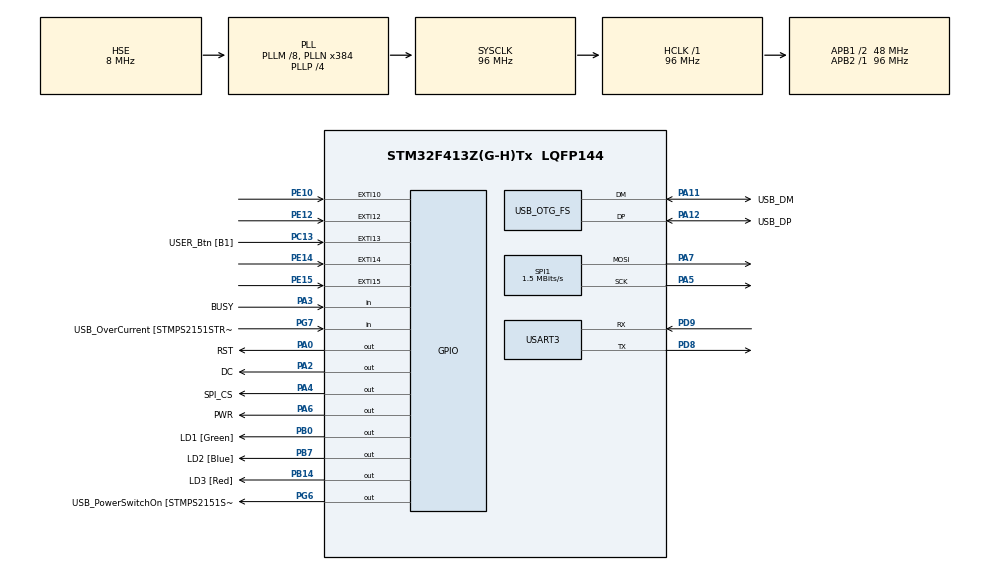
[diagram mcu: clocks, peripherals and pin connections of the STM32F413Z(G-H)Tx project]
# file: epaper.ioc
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Dma.Request0=USART3_RX
Dma.USART3_RX.0.Direction=DMA_PERIPH_TO_MEMORY
Dma.USART3_RX.0.FIFOMode=DMA_FIFOMODE_DISABLE
Dma.USART3_RX.0.Instance=DMA1_Stream1
Dma.USART3_RX.0.MemDataAlignment=DMA_MDATAALIGN_BYTE
Dma.USART3_RX.0.MemInc=DMA_MINC_ENABLE
Dma.USART3_RX.0.Mode=DMA_CIRCULAR
Dma.USART3_RX.0.PeriphDataAlignment=DMA_PDATAALIGN_BYTE
Dma.USART3_RX.0.PeriphInc=DMA_PINC_DISABLE
Dma.USART3_RX.0.Priority=DMA_PRIORITY_LOW
Mcu.Family=STM32F4
Mcu.Name=STM32F413Z(G-H)Tx
Mcu.Package=LQFP144
NVIC.DMA1_Stream1_IRQn=true\:1\:0\:true\:false\:true\:false\:true
NVIC.EXTI15_10_IRQn=true\:1\:0\:true\:false\:true\:true\:true
NVIC.OTG_FS_IRQn=true\:0\:0\:false\:false\:true\:false\:true
NVIC.PriorityGroup=NVIC_PRIORITYGROUP_4
NVIC.RTC_Alarm_IRQn=true\:1\:0\:true\:false\:true\:true\:true
NVIC.USART3_IRQn=true\:1\:0\:true\:false\:true\:true\:true
PA0.GPIO_Label=RST
PA0.Signal=GPIO_Output
PA10.GPIO_Label=USB_ID
PA10.Signal=USB_OTG_FS_ID
PA11.GPIO_Label=USB_DM
PA11.Mode=Device_Only
PA11.Signal=USB_OTG_FS_DM
PA12.GPIO_Label=USB_DP
PA12.Mode=Device_Only
PA12.Signal=USB_OTG_FS_DP
PA13.GPIO_Label=TMS
PA13.Mode=Serial_Wire
PA13.Signal=SYS_JTMS-SWDIO
PA14.GPIO_Label=TCK
PA14.Mode=Serial_Wire
PA14.Signal=SYS_JTCK-SWCLK
PA2.GPIO_Label=DC
PA2.Signal=GPIO_Output
PA3.GPIO_Label=BUSY
PA3.Signal=GPIO_Input
PA4.GPIO_Label=SPI_CS
PA4.Signal=GPIO_Output
PA5.Mode=TX_Only_Simplex_Unidirect_Master
PA5.Signal=SPI1_SCK
PA6.GPIO_Label=PWR
PA6.Signal=GPIO_Output
PA7.Mode=TX_Only_Simplex_Unidirect_Master
PA7.Signal=SPI1_MOSI
PA8.GPIO_Label=USB_SOF [TP1]
PA8.Signal=USB_OTG_FS_SOF
PA9.GPIO_Label=USB_VBUS
PA9.Signal=USB_OTG_FS_VBUS
PB0.GPIO_Label=LD1 [Green]
PB0.Signal=GPIO_Output
PB14.GPIO_Label=LD3 [Red]
PB14.Signal=GPIO_Output
PB3.GPIO_Label=SWO
PB3.Signal=SYS_JTDO-SWO
PB7.GPIO_Label=LD2 [Blue]
PB7.Signal=GPIO_Output
PC13.GPIO_Label=USER_Btn [B1]
PC13.Signal=GPXTI13
PC14-OSC32_IN.Mode=LSE-External-Oscillator
PC14-OSC32_IN.Signal=RCC_OSC32_IN
PC15-OSC32_OUT.Mode=LSE-External-Oscillator
PC15-OSC32_OUT.Signal=RCC_OSC32_OUT
PD8.Mode=Asynchronous
PD8.Signal=USART3_TX
PD9.Mode=Asynchronous
PD9.Signal=USART3_RX
PE10.GPIO_ModeDefaultEXTI=GPIO_MODE_IT_RISING
PE10.GPIO_PuPd=GPIO_PULLUP
PE10.Signal=GPXTI10
PE12.GPIO_ModeDefaultEXTI=GPIO_MODE_IT_RISING
PE12.GPIO_PuPd=GPIO_PULLUP
PE12.Signal=GPXTI12
PE14.GPIO_ModeDefaultEXTI=GPIO_MODE_IT_RISING
PE14.GPIO_PuPd=GPIO_PULLUP
PE14.Signal=GPXTI14
PE15.GPIO_ModeDefaultEXTI=GPIO_MODE_IT_RISING
PE15.GPIO_PuPd=GPIO_PULLUP
PE15.Signal=GPXTI15
PG6.GPIO_Label=USB_PowerSwitchOn [STMPS2151STR_EN]
PG6.Signal=GPIO_Output
PG7.GPIO_Label=USB_OverCurrent [STMPS2151STR_FAULT]
PG7.Signal=GPIO_Input
PH0\ -\ OSC_IN.GPIO_Label=MCO
PH0\ -\ OSC_IN.Mode=HSE-External-Clock-Source
PH0\ -\ OSC_IN.Signal=RCC_OSC_IN
PH1\ -\ OSC_OUT.Mode=HSE-External-Clock-Source
PH1\ -\ OSC_OUT.Signal=RCC_OSC_OUT
ProjectManager.HeapSize=0x9000
ProjectManager.StackSize=0x1000
ProjectManager.TargetToolchain=TrueSTUDIO
RCC.48MHZClocksFreq_Value=24000000
RCC.AHBFreq_Value=96000000
RCC.APB1CLKDivider=RCC_HCLK_DIV2
RCC.APB1Freq_Value=48000000
RCC.APB1TimFreq_Value=96000000
RCC.APB2Freq_Value=96000000
RCC.APB2TimFreq_Value=96000000
RCC.CortexFreq_Value=96000000
RCC.HCLKFreq_Value=96000000
RCC.HSE_VALUE=8000000
RCC.HSI_VALUE=16000000
RCC.PLLM=8
RCC.PLLMUL=RCC_PLL_MUL9
RCC.PLLN=384
RCC.PLLP=RCC_PLLP_DIV4
RCC.PLLQ=8
RCC.PRESCALERUSB=RCC_USBCLKSOURCE_PLL_DIV1_5
RCC.SYSCLKFreq_VALUE=96000000
RCC.SYSCLKSource=RCC_SYSCLKSOURCE_PLLCLK
RCC.SYSCLKSourceVirtual=RCC_SYSCLKSOURCE_PLLCLK
RCC.USBFreq_Value=48000000
RCC.VCOOutputFreq_Value=384000000
RTC.Alarm=RTC_ALARM_A
RTC.AlarmMaskMinutes=RTC_ALARMMASK_MINUTES
SPI1.BaudRatePrescaler=SPI_BAUDRATEPRESCALER_64
SPI1.CalculateBaudRate=1.5 MBits/s
SPI1.Direction=SPI_DIRECTION_2LINES
SPI1.Mode=SPI_MODE_MASTER
SPI1.VirtualType=VM_MASTER
USART3.VirtualMode=VM_ASYNC
USB_DEVICE.CLASS_NAME_FS=CDC
USB_DEVICE.VirtualMode=Cdc
USB_DEVICE.VirtualModeFS=Cdc_FS
USB_OTG_FS.VirtualMode=Device_Only
VP_RTC_VS_RTC_Activate.Mode=RTC_Enabled
VP_RTC_VS_RTC_Alarm_A_Intern.Mode=Alarm A
VP_RTC_VS_RTC_Calendar.Mode=RTC_Calendar
VP_USB_DEVICE_VS_USB_DEVICE_CDC_FS.Mode=CDC_FS
board=NUCLEO-F413ZH

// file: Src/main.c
/* USER CODE BEGIN Header */
/**
  ******************************************************************************
  * @file           : main.c
  * @brief          : Main program body
  ******************************************************************************
  * @attention
  *
  * <h2><center>&copy; Copyright (c) 2020 STMicroelectronics.
  * All rights reserved.</center></h2>
  *
  * This software component is licensed by ST under BSD 3-Clause license,
  * the "License"; You may not use this file except in compliance with the
  * License. You may obtain a copy of the License at:
  *                        opensource.org/licenses/BSD-3-Clause
  *
  ******************************************************************************
  */
/* USER CODE END Header */

#include "main.h"
#include "usb_device.h"

/* USER CODE BEGIN Includes */
#include "EPD_2in7.h"
#include "stdlib.h"
#include "usbd_cdc_if.h"
/* USER CODE END Includes */

/* USER CODE BEGIN PD */
#define MODE_BW 0
#define MODE_4Gray 1
/* USER CODE END PD */

RTC_HandleTypeDef hrtc;

SPI_HandleTypeDef hspi1;

UART_HandleTypeDef huart3;
DMA_HandleTypeDef hdma_usart3_rx;

/* USER CODE BEGIN PV */
/* Private variables ---------------------------------------------------------*/

/* USER CODE END PV */

void SystemClock_Config(void);
static void MX_GPIO_Init(void);
static void MX_DMA_Init(void);
static void MX_USART3_UART_Init(void);
static void MX_SPI1_Init(void);
static void MX_RTC_Init(void);
/* USER CODE BEGIN PFP */
/* Private function prototypes -----------------------------------------------*/
void DEV_DisplayImage(void);
void DEV_InitMode(int mode);
/* USER CODE END PFP */

/* USER CODE BEGIN 0 */
const UWORD Imagesize = 5808; //264*176/8
UBYTE *BlackImage;

int displaymode = 0; // 0 for black and white, 1 for 4-gray
/* USER CODE END 0 */

int main(void)
{

  /* MCU Configuration--------------------------------------------------------*/

  /* Reset of all peripherals, Initializes the Flash interface and the Systick. */
  HAL_Init();

  /* Configure the system clock */
  SystemClock_Config();

  /* Initialize all configured peripherals */
  MX_GPIO_Init();
  MX_DMA_Init();
  MX_USART3_UART_Init();
  MX_SPI1_Init();
  MX_RTC_Init();
  MX_USB_DEVICE_Init();
  /* USER CODE BEGIN 2 */
  HAL_GPIO_WritePin(PWR_GPIO_Port, PWR_Pin, GPIO_PIN_SET);

  DEV_Module_Init();
  DEV_InitMode(MODE_BW);
  /* USER CODE END 2 */

  /* Infinite loop */
  /* USER CODE BEGIN WHILE */
	while (1) {
		// send the cpu to sleep
    	HAL_SuspendTick();
    	__WFI();
    /* USER CODE END WHILE */

    }
}

void SystemClock_Config(void)
{
  RCC_OscInitTypeDef RCC_OscInitStruct = {0};
  RCC_ClkInitTypeDef RCC_ClkInitStruct = {0};
  RCC_PeriphCLKInitTypeDef PeriphClkInitStruct = {0};

  /** Configure the main internal regulator output voltage
  */
  __HAL_RCC_PWR_CLK_ENABLE();
  __HAL_PWR_VOLTAGESCALING_CONFIG(PWR_REGULATOR_VOLTAGE_SCALE1);
  /** Initializes the CPU, AHB and APB busses clocks
  */
  RCC_OscInitStruct.OscillatorType = RCC_OSCILLATORTYPE_LSI|RCC_OSCILLATORTYPE_HSE;
  RCC_OscInitStruct.HSEState = RCC_HSE_BYPASS;
  RCC_OscInitStruct.LSIState = RCC_LSI_ON;
  RCC_OscInitStruct.PLL.PLLState = RCC_PLL_ON;
  RCC_OscInitStruct.PLL.PLLSource = RCC_PLLSOURCE_HSE;
  RCC_OscInitStruct.PLL.PLLM = 8;
  RCC_OscInitStruct.PLL.PLLN = 384;
  RCC_OscInitStruct.PLL.PLLP = RCC_PLLP_DIV4;
  RCC_OscInitStruct.PLL.PLLQ = 8;
  RCC_OscInitStruct.PLL.PLLR = 2;
  if (HAL_RCC_OscConfig(&RCC_OscInitStruct) != HAL_OK)
  {
    Error_Handler();
  }
  /** Initializes the CPU, AHB and APB busses clocks
  */
  RCC_ClkInitStruct.ClockType = RCC_CLOCKTYPE_HCLK|RCC_CLOCKTYPE_SYSCLK
                              |RCC_CLOCKTYPE_PCLK1|RCC_CLOCKTYPE_PCLK2;
  RCC_ClkInitStruct.SYSCLKSource = RCC_SYSCLKSOURCE_PLLCLK;
  RCC_ClkInitStruct.AHBCLKDivider = RCC_SYSCLK_DIV1;
  RCC_ClkInitStruct.APB1CLKDivider = RCC_HCLK_DIV2;
  RCC_ClkInitStruct.APB2CLKDivider = RCC_HCLK_DIV1;

  if (HAL_RCC_ClockConfig(&RCC_ClkInitStruct, FLASH_LATENCY_3) != HAL_OK)
  {
    Error_Handler();
  }
  PeriphClkInitStruct.PeriphClockSelection = RCC_PERIPHCLK_RTC|RCC_PERIPHCLK_CLK48;
  PeriphClkInitStruct.RTCClockSelection = RCC_RTCCLKSOURCE_LSI;
  PeriphClkInitStruct.Clk48ClockSelection = RCC_CLK48CLKSOURCE_PLLQ;
  if (HAL_RCCEx_PeriphCLKConfig(&PeriphClkInitStruct) != HAL_OK)
  {
    Error_Handler();
  }
}

static void MX_RTC_Init(void)
{

  RTC_TimeTypeDef sTime = {0};
  RTC_DateTypeDef sDate = {0};
  RTC_AlarmTypeDef sAlarm = {0};

  /** Initialize RTC Only
  */
  hrtc.Instance = RTC;
  hrtc.Init.HourFormat = RTC_HOURFORMAT_24;
  hrtc.Init.AsynchPrediv = 127;
  hrtc.Init.SynchPrediv = 255;
  hrtc.Init.OutPut = RTC_OUTPUT_DISABLE;
  hrtc.Init.OutPutPolarity = RTC_OUTPUT_POLARITY_HIGH;
  hrtc.Init.OutPutType = RTC_OUTPUT_TYPE_OPENDRAIN;
  if (HAL_RTC_Init(&hrtc) != HAL_OK)
  {
    Error_Handler();
  }

  /** Initialize RTC and set the Time and Date
  */
  sTime.Hours = 0x0;
  sTime.Minutes = 0x0;
  sTime.Seconds = 0x0;
  sTime.DayLightSaving = RTC_DAYLIGHTSAVING_NONE;
  sTime.StoreOperation = RTC_STOREOPERATION_RESET;
  if (HAL_RTC_SetTime(&hrtc, &sTime, RTC_FORMAT_BCD) != HAL_OK)
  {
    Error_Handler();
  }
  sDate.WeekDay = RTC_WEEKDAY_MONDAY;
  sDate.Month = RTC_MONTH_JANUARY;
  sDate.Date = 0x1;
  sDate.Year = 0x0;

  if (HAL_RTC_SetDate(&hrtc, &sDate, RTC_FORMAT_BCD) != HAL_OK)
  {
    Error_Handler();
  }
  /** Enable the Alarm A
  */
  sAlarm.AlarmTime.Hours = 0x0;
  sAlarm.AlarmTime.Minutes = 0x0;
  sAlarm.AlarmTime.Seconds = 0x0;
  sAlarm.AlarmTime.SubSeconds = 0x0;
  sAlarm.AlarmTime.DayLightSaving = RTC_DAYLIGHTSAVING_NONE;
  sAlarm.AlarmTime.StoreOperation = RTC_STOREOPERATION_RESET;
  sAlarm.AlarmMask = RTC_ALARMMASK_MINUTES;
  sAlarm.AlarmSubSecondMask = RTC_ALARMSUBSECONDMASK_ALL;
  sAlarm.AlarmDateWeekDaySel = RTC_ALARMDATEWEEKDAYSEL_DATE;
  sAlarm.AlarmDateWeekDay = 0x1;
  sAlarm.Alarm = RTC_ALARM_A;
  if (HAL_RTC_SetAlarm_IT(&hrtc, &sAlarm, RTC_FORMAT_BCD) != HAL_OK)
  {
    Error_Handler();
  }

}

static void MX_SPI1_Init(void)
{

  /* SPI1 parameter configuration*/
  hspi1.Instance = SPI1;
  hspi1.Init.Mode = SPI_MODE_MASTER;
  hspi1.Init.Direction = SPI_DIRECTION_2LINES;
  hspi1.Init.DataSize = SPI_DATASIZE_8BIT;
  hspi1.Init.CLKPolarity = SPI_POLARITY_LOW;
  hspi1.Init.CLKPhase = SPI_PHASE_1EDGE;
  hspi1.Init.NSS = SPI_NSS_SOFT;
  hspi1.Init.BaudRatePrescaler = SPI_BAUDRATEPRESCALER_64;
  hspi1.Init.FirstBit = SPI_FIRSTBIT_MSB;
  hspi1.Init.TIMode = SPI_TIMODE_DISABLE;
  hspi1.Init.CRCCalculation = SPI_CRCCALCULATION_DISABLE;
  hspi1.Init.CRCPolynomial = 10;
  if (HAL_SPI_Init(&hspi1) != HAL_OK)
  {
    Error_Handler();
  }

}

static void MX_USART3_UART_Init(void)
{

  huart3.Instance = USART3;
  huart3.Init.BaudRate = 115200;
  huart3.Init.WordLength = UART_WORDLENGTH_8B;
  huart3.Init.StopBits = UART_STOPBITS_1;
  huart3.Init.Parity = UART_PARITY_NONE;
  huart3.Init.Mode = UART_MODE_TX_RX;
  huart3.Init.HwFlowCtl = UART_HWCONTROL_NONE;
  huart3.Init.OverSampling = UART_OVERSAMPLING_16;
  if (HAL_UART_Init(&huart3) != HAL_OK)
  {
    Error_Handler();
  }

}

static void MX_DMA_Init(void)
{

  /* DMA controller clock enable */
  __HAL_RCC_DMA1_CLK_ENABLE();

  /* DMA interrupt init */
  /* DMA1_Stream1_IRQn interrupt configuration */
  HAL_NVIC_SetPriority(DMA1_Stream1_IRQn, 1, 0);
  HAL_NVIC_EnableIRQ(DMA1_Stream1_IRQn);

}

static void MX_GPIO_Init(void)
{
  GPIO_InitTypeDef GPIO_InitStruct = {0};

  /* GPIO Ports Clock Enable */
  __HAL_RCC_GPIOC_CLK_ENABLE();
  __HAL_RCC_GPIOH_CLK_ENABLE();
  __HAL_RCC_GPIOA_CLK_ENABLE();
  __HAL_RCC_GPIOB_CLK_ENABLE();
  __HAL_RCC_GPIOE_CLK_ENABLE();
  __HAL_RCC_GPIOD_CLK_ENABLE();
  __HAL_RCC_GPIOG_CLK_ENABLE();

  /*Configure GPIO pin Output Level */
  HAL_GPIO_WritePin(GPIOA, RST_Pin|DC_Pin|SPI_CS_Pin|PWR_Pin, GPIO_PIN_RESET);

  /*Configure GPIO pin Output Level */
  HAL_GPIO_WritePin(GPIOB, LD1_Pin|LD3_Pin|LD2_Pin, GPIO_PIN_RESET);

  /*Configure GPIO pin Output Level */
  HAL_GPIO_WritePin(USB_PowerSwitchOn_GPIO_Port, USB_PowerSwitchOn_Pin, GPIO_PIN_RESET);

  /*Configure GPIO pin : USER_Btn_Pin */
  GPIO_InitStruct.Pin = USER_Btn_Pin;
  GPIO_InitStruct.Mode = GPIO_MODE_IT_RISING;
  GPIO_InitStruct.Pull = GPIO_NOPULL;
  HAL_GPIO_Init(USER_Btn_GPIO_Port, &GPIO_InitStruct);

  /*Configure GPIO pins : RST_Pin DC_Pin SPI_CS_Pin PWR_Pin */
  GPIO_InitStruct.Pin = RST_Pin|DC_Pin|SPI_CS_Pin|PWR_Pin;
  GPIO_InitStruct.Mode = GPIO_MODE_OUTPUT_PP;
  GPIO_InitStruct.Pull = GPIO_NOPULL;
  GPIO_InitStruct.Speed = GPIO_SPEED_FREQ_LOW;
  HAL_GPIO_Init(GPIOA, &GPIO_InitStruct);

  /*Configure GPIO pin : BUSY_Pin */
  GPIO_InitStruct.Pin = BUSY_Pin;
  GPIO_InitStruct.Mode = GPIO_MODE_INPUT;
  GPIO_InitStruct.Pull = GPIO_NOPULL;
  HAL_GPIO_Init(BUSY_GPIO_Port, &GPIO_InitStruct);

  /*Configure GPIO pins : LD1_Pin LD3_Pin LD2_Pin */
  GPIO_InitStruct.Pin = LD1_Pin|LD3_Pin|LD2_Pin;
  GPIO_InitStruct.Mode = GPIO_MODE_OUTPUT_PP;
  GPIO_InitStruct.Pull = GPIO_NOPULL;
  GPIO_InitStruct.Speed = GPIO_SPEED_FREQ_LOW;
  HAL_GPIO_Init(GPIOB, &GPIO_InitStruct);

  /*Configure GPIO pins : PE10 PE12 PE14 PE15 */
  GPIO_InitStruct.Pin = GPIO_PIN_10|GPIO_PIN_12|GPIO_PIN_14|GPIO_PIN_15;
  GPIO_InitStruct.Mode = GPIO_MODE_IT_RISING;
  GPIO_InitStruct.Pull = GPIO_PULLUP;
  HAL_GPIO_Init(GPIOE, &GPIO_InitStruct);

  /*Configure GPIO pin : USB_PowerSwitchOn_Pin */
  GPIO_InitStruct.Pin = USB_PowerSwitchOn_Pin;
  GPIO_InitStruct.Mode = GPIO_MODE_OUTPUT_PP;
  GPIO_InitStruct.Pull = GPIO_NOPULL;
  GPIO_InitStruct.Speed = GPIO_SPEED_FREQ_LOW;
  HAL_GPIO_Init(USB_PowerSwitchOn_GPIO_Port, &GPIO_InitStruct);

  /*Configure GPIO pin : USB_OverCurrent_Pin */
  GPIO_InitStruct.Pin = USB_OverCurrent_Pin;
  GPIO_InitStruct.Mode = GPIO_MODE_INPUT;
  GPIO_InitStruct.Pull = GPIO_NOPULL;
  HAL_GPIO_Init(USB_OverCurrent_GPIO_Port, &GPIO_InitStruct);

  /* EXTI interrupt init*/
  HAL_NVIC_SetPriority(EXTI15_10_IRQn, 1, 0);
  HAL_NVIC_EnableIRQ(EXTI15_10_IRQn);

}

/* USER CODE BEGIN 4 */

void DEV_InitMode(int mode) {
	free(BlackImage);
	BlackImage = (UBYTE *)malloc((Imagesize*(mode+1)));
	displaymode = mode;

	if(mode == MODE_BW) {
		EPD_2IN7_Init();
	} else {
		EPD_2IN7_Init_4Gray();
	}

	EPD_2IN7_Clear();
	DEV_Delay_ms(1000);

	HAL_UART_Receive_DMA(&huart3, BlackImage, (Imagesize*(displaymode+1)));
}

void DEV_DisplayImage(void) {
	if(displaymode == MODE_BW) {
		EPD_2IN7_Display(BlackImage);
	} else {
		EPD_2IN7_4GrayDisplay(BlackImage);
	}
	DEV_Delay_ms(1000);
}

void HAL_UART_RxCpltCallback(UART_HandleTypeDef *huart)
{
	if (huart->Instance == USART3)
	{
		HAL_ResumeTick();
		HAL_GPIO_WritePin(LD3_GPIO_Port, LD3_Pin, GPIO_PIN_SET);

		DEV_DisplayImage();

		HAL_GPIO_WritePin(LD3_GPIO_Port, LD3_Pin, GPIO_PIN_RESET);

		HAL_UART_Receive_DMA(&huart3, BlackImage, (Imagesize*(displaymode+1)));
	}
}

void HAL_RTC_AlarmAEventCallback(RTC_HandleTypeDef *hrtc)
{
	HAL_ResumeTick();
	HAL_GPIO_WritePin(LD2_GPIO_Port, LD2_Pin, GPIO_PIN_SET);

	// Display should be reset at least once a day to stop "burn-in"
	EPD_2IN7_Clear();
	DEV_Delay_ms(1000);

	DEV_DisplayImage();

	HAL_GPIO_WritePin(LD2_GPIO_Port, LD2_Pin, GPIO_PIN_RESET);
}

void HAL_GPIO_EXTI_Callback(uint16_t GPIO_Pin) {
	HAL_ResumeTick();
    if (GPIO_Pin == GPIO_PIN_13) { // User Button on the STM32
    	HAL_GPIO_TogglePin(LD1_GPIO_Port, LD1_Pin);
    	HAL_UART_DMAStop(&huart3);
    	DEV_InitMode(HAL_GPIO_ReadPin(LD1_GPIO_Port, LD1_Pin));
    }
    if (GPIO_Pin == GPIO_PIN_10) { // Button 1 on the display
    	CDC_Transmit_FS((uint8_t*)"Pressed Button 1\r\n", 18);
    }
    if (GPIO_Pin == GPIO_PIN_12) { // Button 2 on the display
    	CDC_Transmit_FS((uint8_t*)"Pressed Button 2\r\n", 18);
    }
    if (GPIO_Pin == GPIO_PIN_14) { // Button 3 on the display
    	CDC_Transmit_FS((uint8_t*)"Pressed Button 3\r\n", 18);
    }
    if (GPIO_Pin == GPIO_PIN_15) { // Button 4 on the display
    	CDC_Transmit_FS((uint8_t*)"Pressed Button 4\r\n", 18);
    }
    HAL_Delay(300); // Debounce
}
/* USER CODE END 4 */

void Error_Handler(void)
{
    while(1) {
    }
}

/************************ (C) COPYRIGHT STMicroelectronics *****END OF FILE****/
